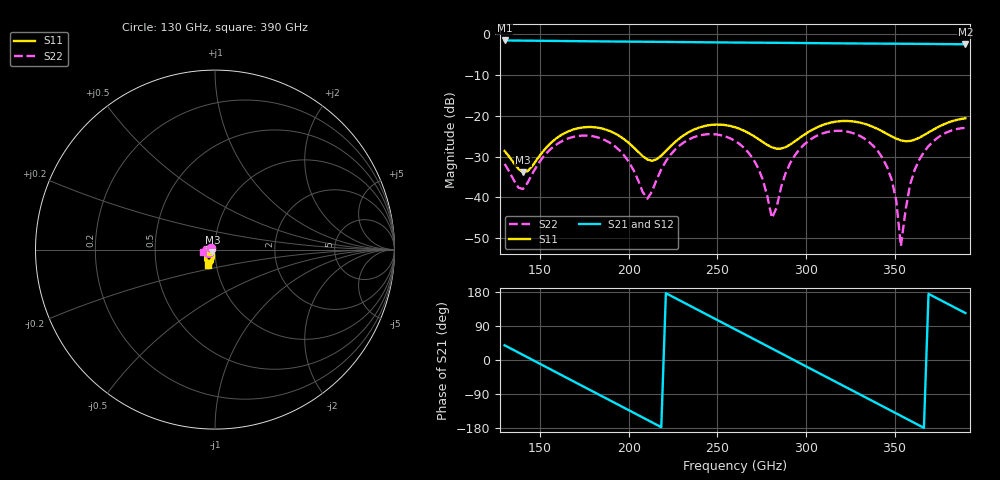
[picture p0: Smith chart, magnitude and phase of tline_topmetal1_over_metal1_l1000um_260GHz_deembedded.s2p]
! Created with skrf 2.0.1 (http://scikit-rf.org).
# GHz S DB R 50.0
!freq dBS11 angS11 dBS21 angS21 dBS12 angS12 dBS22 angS22
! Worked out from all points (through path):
!   101 points, 130 GHz to 390 GHz, reference 50 ohm
!   highest |S21| = -1.51 dB at 130 GHz (marker M1); lowest = -2.4 dB at 390 GHz (marker M2)
!   group delay of S21, straight-line fit = 6.78 ps
!   lowest |S11| = -33.9 dB at 140.4 GHz (marker M3), VSWR 1.04, Z = 48.5 - j1.35 ohm
!   |S11| at or under -10 dB: start of sweep to end of sweep
!   |S22| runs from -52.0 to -23.0 dB; largest |S21 - S12| = 9.5e-14
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130  -28.63 -166.1  -1.51 38.8  -1.51 38.8  -31.83 164.2
140.4  -33.90 -136.5  -1.55 13.3  -1.55 13.3  -37.97 -150.0
156  -26.71 -99.1  -1.61 -24.9  -1.61 -24.9  -28.16 -126.2
174.2  -22.85 -124.1  -1.70 -69.4  -1.70 -69.4  -24.86 -161.8
195  -25.02 -153.2  -1.78 -120.1  -1.78 -120.1  -28.56 156.5
210.6  -30.76 -138.0  -1.83 -158.2  -1.83 -158.2  -40.35 -163.8
218.4  -29.77 -108.2  -1.85 -177.3  -1.85 -177.3  -33.15 -119.7
236.6  -23.43 -106.7  -1.93 138.2  -1.93 138.2  -25.30 -147.0
260  -22.81 -136.6  -2.02 81.1  -2.02 81.1  -26.17 161.3
273  -25.66 -143.0  -2.05 49.4  -2.05 49.4  -32.77 137.5
280.8  -27.74 -132.6  -2.08 30.4  -2.08 30.4  -45.06 175.3
291.2  -27.05 -106.9  -2.11 4.9  -2.11 4.9  -31.56 -111.1
304.2  -23.30 -102.4  -2.16 -26.8  -2.16 -26.8  -25.37 -136.7
330.2  -21.65 -129.5  -2.25 -90.2  -2.25 -90.2  -24.90 162.5
340.6  -23.26 -136.6  -2.28 -115.5  -2.28 -115.5  -28.67 138.5
348.4  -25.06 -134.1  -2.30 -134.6  -2.30 -134.6  -35.70 123.8
351  -25.62 -130.9  -2.30 -140.9  -2.30 -140.9  -40.85 123.8
353.6  -26.04 -126.5  -2.31 -147.3  -2.31 -147.3  -52.02 165.3
358.8  -26.19 -115.5  -2.33 -160.0  -2.33 -160.0  -36.88 -98.4
364  -25.38 -106.1  -2.34 -172.7  -2.34 -172.7  -30.75 -106.7
374.4  -22.82 -101.0  -2.38 161.8  -2.38 161.8  -25.37 -130.2
390  -20.62 -113.0  -2.44 123.8  -2.44 123.8  -22.98 -167.7
